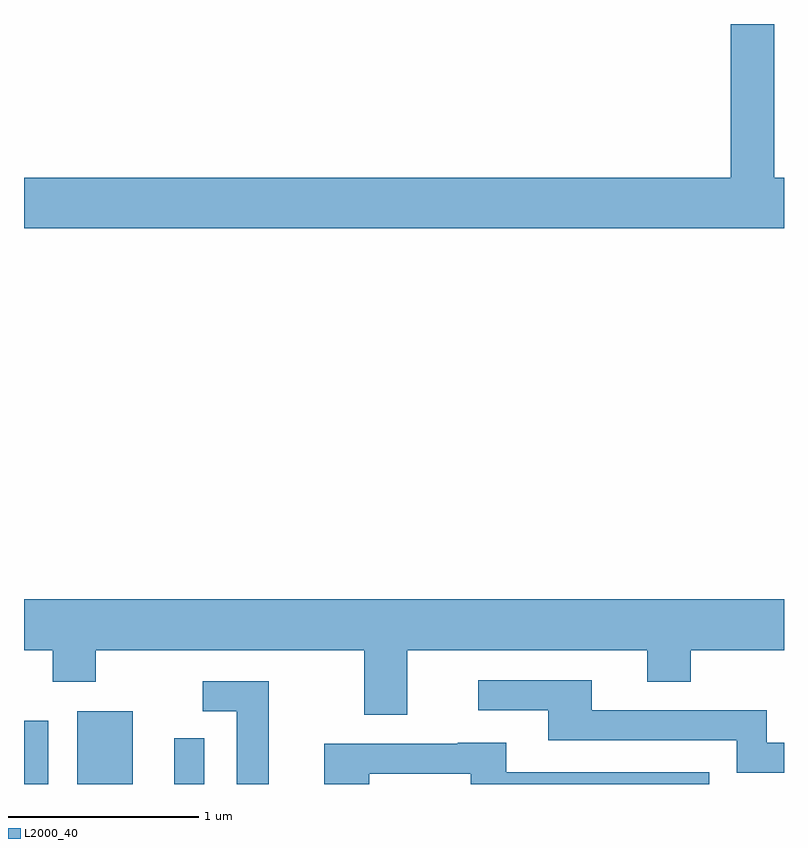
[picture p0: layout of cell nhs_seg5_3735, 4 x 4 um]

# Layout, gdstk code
import gdstk
lib = gdstk.Library(unit=1e-6, precision=1e-09)
def R(c, l, rs):  # rectangles x0, y0, x1, y1
    for r in rs: c.add(gdstk.rectangle(r[:2], r[2:], *l))
def P(c, l, *ps):  # polygons
    for p in ps: c.add(gdstk.Polygon(p, *l))
L2000_40 = (2000, 40)

nhs_seg5_3735 = lib.new_cell('nhs_seg5_3735')
R(nhs_seg5_3735, L2000_40, [(295.611,1476.072,295.739,1476.404), (295.891,1476.072,296.184,1476.454), (296.401,1476.072,296.559,1476.313)])
P(nhs_seg5_3735, L2000_40, [(299.611,1479.264),(299.559,1479.264),(299.559,1480.072),(299.331,1480.072),(299.331,1479.264),(295.611,1479.264),(295.611,1478.996),(299.611,1478.996)],
  [(297.629,1476.776),(298.891,1476.776),(298.891,1476.611),(299.119,1476.611),(299.119,1476.776),(299.611,1476.776),(299.611,1477.044),(295.611,1477.044),(295.611,1476.776),(295.761,1476.776),(295.761,1476.611),(295.989,1476.611),(295.989,1476.776),(297.401,1476.776),(297.401,1476.436),(297.629,1476.436)],
  [(299.611,1476.289),(299.519,1476.289),(299.519,1476.459),(298.599,1476.459),(298.599,1476.619),(298.003,1476.619),(298.003,1476.461),(298.371,1476.461),(298.371,1476.301),(299.361,1476.301),(299.361,1476.131),(299.611,1476.131)],
  [(296.899,1476.614),(296.553,1476.614),(296.553,1476.456),(296.731,1476.456),(296.731,1476.072),(296.899,1476.072)],
  [(297.429,1476.126),(297.961,1476.126),(297.961,1476.072),(299.218,1476.072),(299.218,1476.134),(298.149,1476.134),(298.149,1476.289),(297.895,1476.289),(297.895,1476.284),(297.191,1476.284),(297.191,1476.072),(297.429,1476.072)])

lib.write_gds('nhs_seg5_3735.gds')
